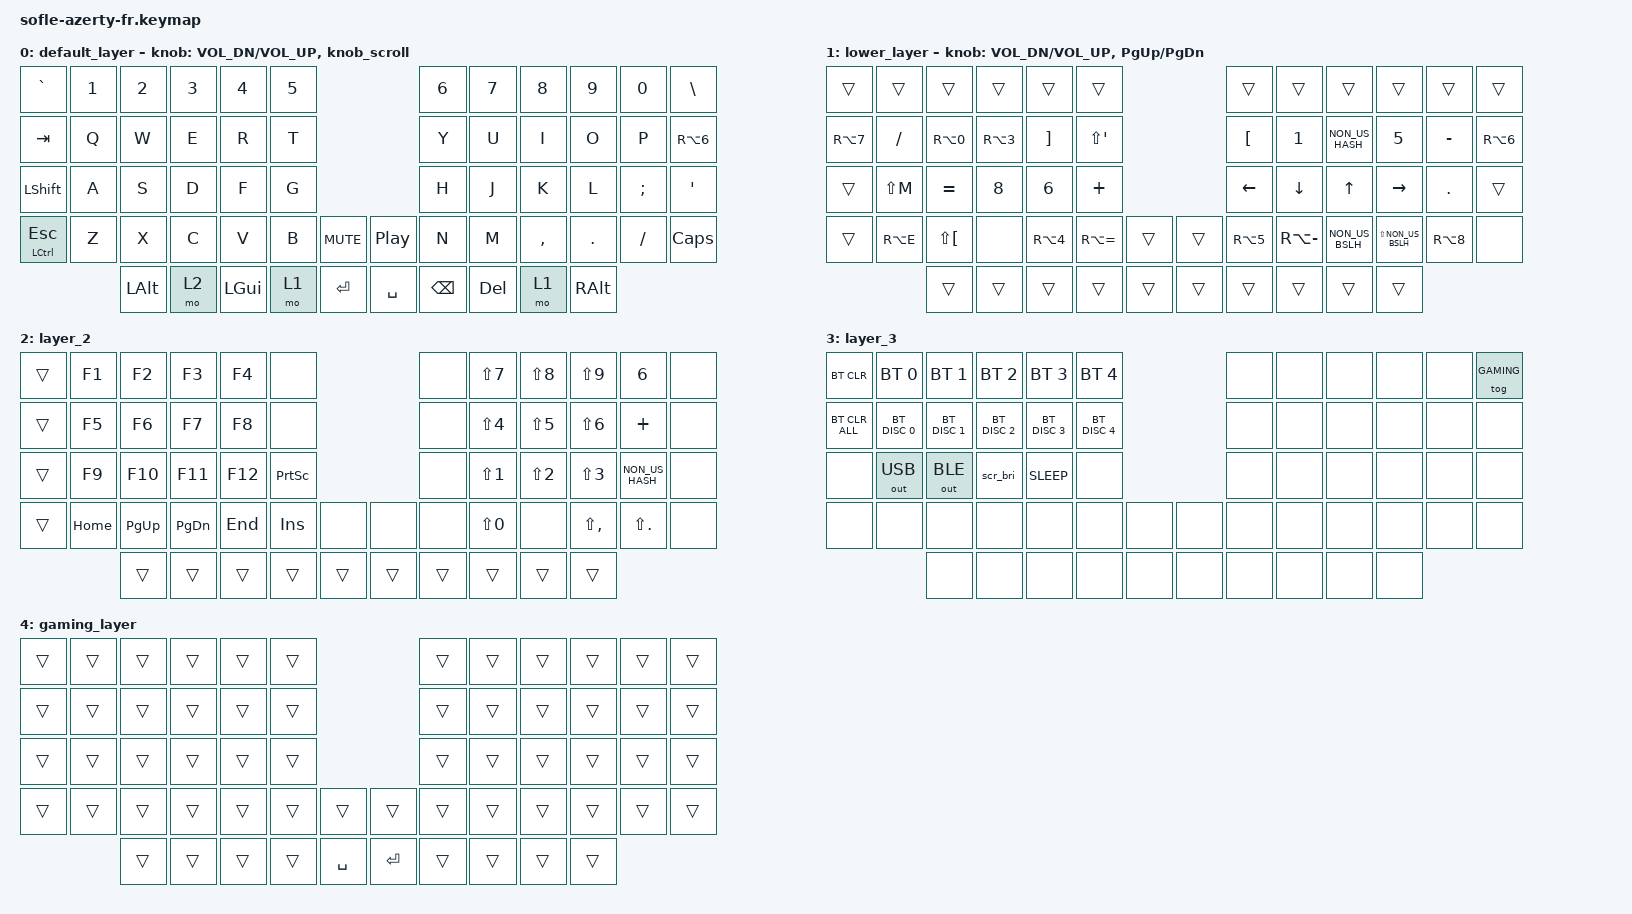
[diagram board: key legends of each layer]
// AZERTY (French) layout for the sofle, generated from the stock keymap.
// Layer 0 keys stay where they are (the computer's keyboard language decides what they type);
// the other layers type the same characters as the stock keymap. Extra keys:
//   layer 1, key 37: €
//   layer 1, key 38: ¨
/*
 * Copyright (c) 2020 The ZMK Contributors
 *
 * SPDX-License-Identifier: MIT
 */

#include <behaviors.dtsi>
#include <dt-bindings/zmk/bt.h>
#include <dt-bindings/zmk/keys.h>
#include <dt-bindings/zmk/outputs.h>

// Wake-up key: top outer corner (` / \), row pin 5, column pin 19 on both halves.
#define TKL_WAKE_ROW 5
#define TKL_WAKE_COL 19
// Switch-off: ` + Ctrl/Esc held together.
#define TKL_OFF_KEYS 0 36
#include "tkl_power.dtsi"
#include "tkl_brightness.dtsi"

#define BASE 0
#define LOWER 1
#define RAISE 2
#define ADJUST 3
#define GAMING 4

/ {
    behaviors {
        // Right knob: one mouse-wheel step per notch (wheel_step). On our Sofles the first
        // sensor binding fires on a physical counter-clockwise turn (tested 2026-10-24),
        // so every knob binding below lists counter-clockwise first: clockwise = volume up,
        // scroll down, page down.
        wheel_step: wheel_step {
            compatible = "zmk,behavior-wheel-step";
            #binding-cells = <1>;
        };

        knob_scroll: knob_scroll {
            compatible = "zmk,behavior-sensor-rotate";
            #sensor-binding-cells = <0>;
            bindings = <&wheel_step 1>, <&wheel_step (-1)>;
        };
    };

    wheel_step_input_listener {
        compatible = "zmk,input-listener";
        device = <&wheel_step>;
    };

    // Activate ADJUST layer by pressing raise and lower

    conditional_layers {
        compatible = "zmk,conditional-layers";

        adjust_layer {
            if-layers = <1 2>;
            then-layer = <3>;
        };
    };

    keymap {
        compatible = "zmk,keymap";

        default_layer {

            bindings = <
&kp GRAVE         &kp N1  &kp N2        &kp N3  &kp N4        &kp N5                             &kp N6         &kp N7      &kp N8     &kp N9         &kp N0    &kp BACKSLASH
&kp TAB           &kp Q   &kp W         &kp E   &kp R         &kp T                              &kp Y          &kp U       &kp I      &kp O          &kp P     &kp RA(N6)
&kp LEFT_SHIFT    &kp A   &kp S         &kp D   &kp F         &kp G                              &kp H          &kp J       &kp K      &kp L          &kp SEMI  &kp SQT
&mt LCTRL ESCAPE  &kp Z   &kp X         &kp C   &kp V         &kp B   &kp C_MUTE    &kp C_PP     &kp N          &kp M       &kp COMMA  &kp DOT        &kp FSLH  &kp CAPS
                          &kp LEFT_ALT  &mo 2   &kp LEFT_GUI  &mo 1   &kp RET       &kp SPACE    &kp BACKSPACE  &kp DELETE  &mo 1      &kp RIGHT_ALT
            >;

            sensor-bindings =
                <&inc_dec_kp C_VOL_DN C_VOL_UP>,
                <&knob_scroll>;
        };

        lower_layer {

            bindings = <
&trans     &trans           &trans       &trans     &trans      &trans                         &trans          &trans          &trans         &trans                &trans                 &trans
&kp RA(N7)  &kp FSLH         &kp RA(N0)   &kp RA(N3)   &kp RBKT    &kp LS(SQT)                    &kp LBKT        &kp N1          &kp NON_US_HASH   &kp N5                &kp MINUS              &kp RA(N6)
&trans     &kp LS(M)        &kp EQUAL    &kp N8     &kp N6      &kp PLUS                       &kp LEFT_ARROW  &kp DOWN_ARROW  &kp UP_ARROW   &kp RIGHT_ARROW       &kp DOT                &trans
&trans     &kp RA(E)            &kp LS(LBKT)        &none      &kp RA(N4)    &kp RA(EQUAL)     &trans    &trans  &kp RA(N5)        &kp RA(MINUS)        &kp NON_US_BSLH  &kp LS(NON_US_BSLH)      &kp RA(N8)               &none
                            &trans       &trans     &trans      &trans       &trans    &trans  &trans          &trans          &trans         &trans
            >;

            sensor-bindings = <&inc_dec_kp C_VOL_DN C_VOL_UP &inc_dec_kp PG_UP PG_DN>;
        };

        layer_2 {
            bindings = <
&trans  &kp F1    &kp F2       &kp F3         &kp F4   &none                              &none   &kp LS(N7)    &kp LS(N8)    &kp LS(N9)    &kp N6        &none
&trans  &kp F5    &kp F6       &kp F7         &kp F8   &none                              &none   &kp LS(N4)    &kp LS(N5)    &kp LS(N6)    &kp PLUS      &none
&trans  &kp F9    &kp F10      &kp F11        &kp F12  &kp PRINTSCREEN                    &none   &kp LS(N1)    &kp LS(N2)    &kp LS(N3)    &kp NON_US_HASH  &none
&trans  &kp HOME  &kp PAGE_UP  &kp PAGE_DOWN  &kp END  &kp INS          &none     &none   &none   &kp LS(N0)    &none         &kp LS(COMMA)       &kp LS(DOT)     &none
                 &trans       &trans         &trans   &trans           &trans    &trans  &trans  &trans        &trans        &trans
            >;
        };

        layer_3 {
            bindings = <
&bt BT_CLR      &bt BT_SEL 0   &bt BT_SEL 1   &bt BT_SEL 2   &bt BT_SEL 3   &bt BT_SEL 4           &none  &none  &none  &none  &none  &tog GAMING
&bt BT_CLR_ALL  &bt BT_DISC 0  &bt BT_DISC 1  &bt BT_DISC 2  &bt BT_DISC 3  &bt BT_DISC 4                 &none  &none  &none  &none  &none  &none
&none           &out OUT_USB   &out OUT_BLE   &scr_bri       &kp K_SLEEP    &none                  &none  &none  &none  &none  &none  &none
&none           &none          &none          &none          &none          &none  &none    &none  &none  &none  &none  &none  &none  &none
                               &none          &none          &none          &none  &none    &none  &none  &none  &none  &none
            >;
        };

        gaming_layer {
        
            bindings = <
        &trans  &trans  &trans  &trans  &trans  &trans                          &trans  &trans  &trans  &trans  &trans  &trans
        &trans  &trans  &trans  &trans  &trans  &trans                          &trans  &trans  &trans  &trans  &trans  &trans
        &trans  &trans  &trans  &trans  &trans  &trans                          &trans  &trans  &trans  &trans  &trans  &trans
        &trans  &trans  &trans  &trans  &trans  &trans  &trans          &trans  &trans  &trans  &trans  &trans  &trans  &trans
                        &trans  &trans  &trans  &trans  &kp SPACE     &kp RET   &trans  &trans  &trans  &trans
            >;
        };

        extra1 {
            status = "reserved";
        };

        extra2 {
            status = "reserved";
        };

        extra3 {
            status = "reserved";
        };
    };
};
